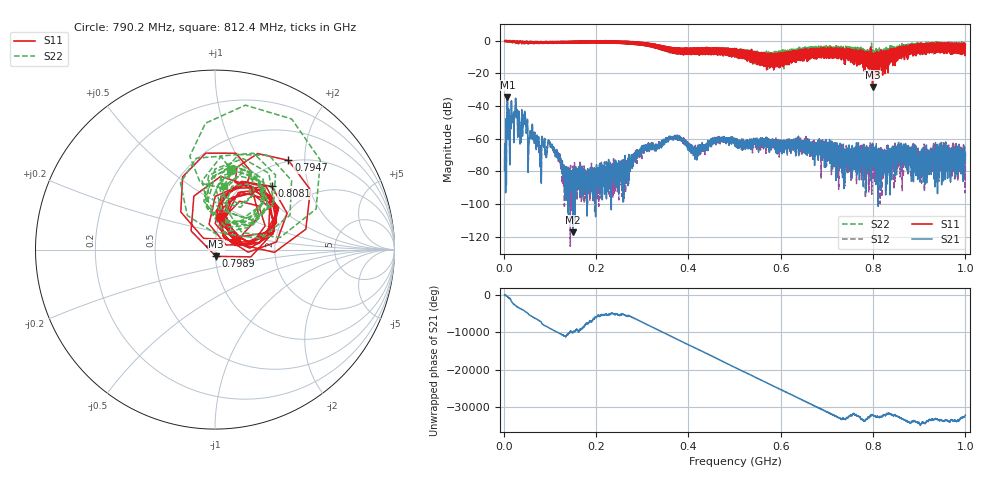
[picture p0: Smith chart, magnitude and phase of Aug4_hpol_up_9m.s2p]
!Keysight Technologies N9923A: A.12.45
!Date: Tuesday, 05 August 2025 19:44:36
!Timezone: (UTC+08:00) Kuala Lumpur, Singapore
!Model: N9923A
!Serial: MY61181427
!GPS Latitude:
!GPS Longitude:
!GPS TimeStamp: 0001-01-01 00:00:00Z
!GPS Seconds Since Last Read: 0
!CHECKSUM:1247075594
!Correction: S11(ON U)S21(ON U)S12(ON U)S22(ON U)
!S2P File: Measurements:S11,S21,S12,S22:
# Hz S DB R 50
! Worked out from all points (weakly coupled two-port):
!   4001 points, 2 MHz to 1 GHz, reference 50 ohm
!   highest |S21| = -34.42 dB at 7.988 MHz (marker M1); lowest = -117.4 dB at 150.5 MHz (marker M2)
!   lowest |S11| = -28.4 dB at 798.9 MHz (marker M3), VSWR 1.08, Z = 50.5 - j3.81 ohm
!   |S11| at or under -10 dB: 552.3497 MHz to 553.1497 MHz (800 kHz wide, 0.145 % of centre); 559.057 MHz to 559.9022 MHz (845.2 kHz wide, 0.151 % of centre); 800.0937 MHz to 801.2002 MHz (1.106 MHz wide, 0.138 % of centre)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
!   |S22| runs from -21.1 to 0.1 dB; largest |S21 - S12| = 0.0013
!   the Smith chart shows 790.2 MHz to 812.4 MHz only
!   S11 on the Smith chart (normalised r, x): 790.2 MHz: 0.99, +0.37; 794.7 MHz: 0.98, +1.67; 798.9 MHz: 1.01, -0.08; 808.1 MHz: 1.31, +1.19; 812.4 MHz: 1.27, +0.11
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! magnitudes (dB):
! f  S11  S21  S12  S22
! 2 MHz  -0.1  -78.7  -79.6  -0.1
! 7.988 MHz  -0.3  -34.4  -34.3  -0.4
! 27.95 MHz  -0.6  -43.8  -43.5  -0.5
! 33.44 MHz  -0.6  -48.1  -48.0  -0.2
! 77.35 MHz  -1.0  -65.6  -64.8  -0.9
! 100.6 MHz  -0.5  -63.2  -62.7  -0.4
! 129.7 MHz  -1.5  -80.7  -78.3  -1.4
! 150.5 MHz  -0.9  -117.4  -87.9  -0.9
! 168.4 MHz  -1.4  -88.4  -89.6  -1.2
! 259.2 MHz  -1.7  -72.7  -78.6  -1.7
! 334.8 MHz  -4.2  -63.6  -63.6  -5.0
! 376.2 MHz  -8.2  -59.1  -59.6  -7.0
! 416.2 MHz  -6.9  -65.7  -65.4  -5.4
! 501 MHz  -6.7  -61.3  -59.7  -8.5
! 667.4 MHz  -10.2  -63.0  -67.2  -6.4
! 790.2 MHz  -14.7  -68.8  -75.0  -6.9
! 794.7 MHz  -3.8  -73.7  -67.5  -8.8
! 798.9 MHz  -28.4  -63.5  -72.3  -7.6
! 808.1 MHz  -6.5  -82.5  -74.5  -9.9
! 812.4 MHz  -17.9  -66.8  -69.6  -9.0
! 833.8 MHz  -7.8  -76.7  -70.2  -5.0
! 1 GHz  -2.3  -70.6  -68.6  -5.9
